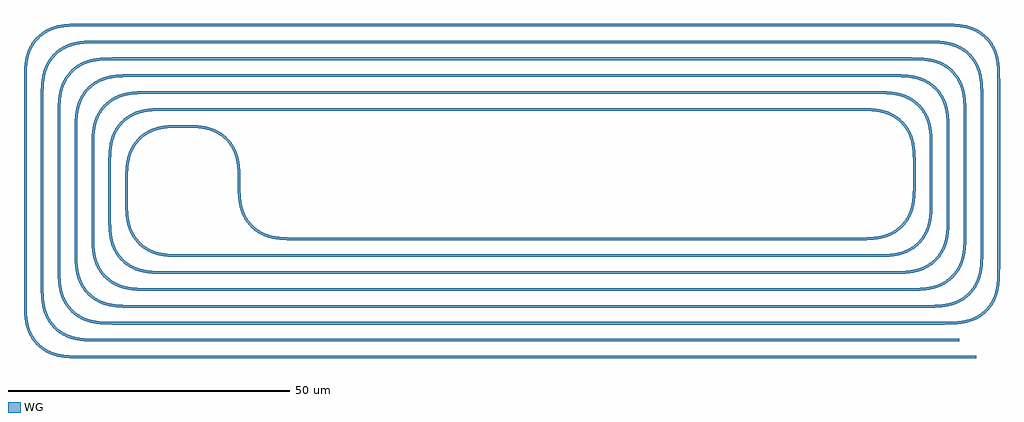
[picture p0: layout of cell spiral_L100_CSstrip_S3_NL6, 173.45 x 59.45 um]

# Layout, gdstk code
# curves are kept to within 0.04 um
from math import pi, radians
import gdstk
lib = gdstk.Library(unit=1e-6, precision=1e-09)
def R(c, l, rs):  # rectangles x0, y0, x1, y1
    for r in rs: c.add(gdstk.rectangle(r[:2], r[2:], *l))
def P(c, l, *ps):  # polygons
    for p in ps: c.add(gdstk.Polygon(p, *l))
WG = (3, 0)

bend_euler_rnone_a90_p0p = lib.new_cell('bend_euler_RNone_A90_P0p5_WNone_CSstrip_AMRVFalse')
P(bend_euler_rnone_a90_p0p, WG, [(0,-0.225),(0,0.225),(1.656,0.244),(3.019,0.344),(4.09,0.525),(4.998,0.782),(5.742,1.091),(6.444,1.484),(7.592,2.408),(8.516,3.556),(8.909,4.258),(9.218,5.002),(9.475,5.91),(9.656,6.981),(9.756,8.344),(9.775,10),(10.225,10),(10.133,7.208),(9.999,6.229),(9.773,5.261),(9.434,4.322),(9.044,3.557),(8.568,2.844),(7.911,2.089),(7.156,1.432),(6.443,0.956),(5.678,0.566),(4.739,0.227),(3.771,0.001),(2.792,-0.133)])

straight_l3_csstrip_wnon = lib.new_cell('straight_L3_CSstrip_WNone_N2')
R(straight_l3_csstrip_wnon, WG, [(0,-0.225,3,0.225)])

straight_l123_csstrip_wn = lib.new_cell('straight_L123_CSstrip_WNone_N2')
R(straight_l123_csstrip_wn, WG, [(0,-0.225,123,0.225)])

straight_l100_csstrip_wn = lib.new_cell('straight_L100_CSstrip_WNone_N2')
R(straight_l100_csstrip_wn, WG, [(0,-0.225,100,0.225)])

straight_l9_csstrip_wnon = lib.new_cell('straight_L9_CSstrip_WNone_N2')
R(straight_l9_csstrip_wnon, WG, [(0,-0.225,9,0.225)])

straight_l129_csstrip_wn = lib.new_cell('straight_L129_CSstrip_WNone_N2')
R(straight_l129_csstrip_wn, WG, [(0,-0.225,129,0.225)])

straight_l15_csstrip_wno = lib.new_cell('straight_L15_CSstrip_WNone_N2')
R(straight_l15_csstrip_wno, WG, [(0,-0.225,15,0.225)])

straight_l135_csstrip_wn = lib.new_cell('straight_L135_CSstrip_WNone_N2')
R(straight_l135_csstrip_wn, WG, [(0,-0.225,135,0.225)])

straight_l21_csstrip_wno = lib.new_cell('straight_L21_CSstrip_WNone_N2')
R(straight_l21_csstrip_wno, WG, [(0,-0.225,21,0.225)])

straight_l141_csstrip_wn = lib.new_cell('straight_L141_CSstrip_WNone_N2')
R(straight_l141_csstrip_wn, WG, [(0,-0.225,141,0.225)])

straight_l27_csstrip_wno = lib.new_cell('straight_L27_CSstrip_WNone_N2')
R(straight_l27_csstrip_wno, WG, [(0,-0.225,27,0.225)])

straight_l147_csstrip_wn = lib.new_cell('straight_L147_CSstrip_WNone_N2')
R(straight_l147_csstrip_wn, WG, [(0,-0.225,147,0.225)])

straight_l33_csstrip_wno = lib.new_cell('straight_L33_CSstrip_WNone_N2')
R(straight_l33_csstrip_wno, WG, [(0,-0.225,33,0.225)])

straight_l153_csstrip_wn = lib.new_cell('straight_L153_CSstrip_WNone_N2')
R(straight_l153_csstrip_wn, WG, [(0,-0.225,153,0.225)])

straight_l39_csstrip_wno = lib.new_cell('straight_L39_CSstrip_WNone_N2')
R(straight_l39_csstrip_wno, WG, [(0,-0.225,39,0.225)])

straight_l159_csstrip_wn = lib.new_cell('straight_L159_CSstrip_WNone_N2')
R(straight_l159_csstrip_wn, WG, [(0,-0.225,159,0.225)])

spiral_l100_csstrip_s3_n = lib.new_cell('spiral_L100_CSstrip_S3_NL6')
spiral_l100_csstrip_s3_n.add(gdstk.Reference(bend_euler_rnone_a90_p0p, (0,0), rotation=pi, x_reflection=True))
spiral_l100_csstrip_s3_n.add(gdstk.Reference(bend_euler_rnone_a90_p0p, (-10,10), rotation=pi/2))
spiral_l100_csstrip_s3_n.add(gdstk.Reference(bend_euler_rnone_a90_p0p, (-20,20), rotation=pi))
spiral_l100_csstrip_s3_n.add(gdstk.Reference(bend_euler_rnone_a90_p0p, (-30,7), rotation=3*pi/2))
spiral_l100_csstrip_s3_n.add(gdstk.Reference(straight_l3_csstrip_wnon, (-30,10), rotation=3*pi/2))
spiral_l100_csstrip_s3_n.add(gdstk.Reference(straight_l123_csstrip_wn, (-20,-3)))
spiral_l100_csstrip_s3_n.add(gdstk.Reference(straight_l100_csstrip_wn, (0,0)))
spiral_l100_csstrip_s3_n.add(gdstk.Reference(bend_euler_rnone_a90_p0p, (100,0)))
spiral_l100_csstrip_s3_n.add(gdstk.Reference(bend_euler_rnone_a90_p0p, (103,-3)))
spiral_l100_csstrip_s3_n.add(gdstk.Reference(bend_euler_rnone_a90_p0p, (110,13), rotation=pi/2))
spiral_l100_csstrip_s3_n.add(gdstk.Reference(bend_euler_rnone_a90_p0p, (113,16), rotation=pi/2))
spiral_l100_csstrip_s3_n.add(gdstk.Reference(bend_euler_rnone_a90_p0p, (-23,23), rotation=pi))
spiral_l100_csstrip_s3_n.add(gdstk.Reference(bend_euler_rnone_a90_p0p, (-26,26), rotation=pi))
spiral_l100_csstrip_s3_n.add(gdstk.Reference(bend_euler_rnone_a90_p0p, (-33,4), rotation=3*pi/2))
spiral_l100_csstrip_s3_n.add(gdstk.Reference(bend_euler_rnone_a90_p0p, (-36,1), rotation=3*pi/2))
spiral_l100_csstrip_s3_n.add(gdstk.Reference(straight_l3_csstrip_wnon, (110,10), rotation=pi/2))
spiral_l100_csstrip_s3_n.add(gdstk.Reference(straight_l9_csstrip_wnon, (113,7), rotation=pi/2))
spiral_l100_csstrip_s3_n.add(gdstk.Reference(straight_l123_csstrip_wn, (100,23), rotation=pi))
spiral_l100_csstrip_s3_n.add(gdstk.Reference(straight_l129_csstrip_wn, (103,26), rotation=pi))
spiral_l100_csstrip_s3_n.add(gdstk.Reference(straight_l9_csstrip_wnon, (-33,13), rotation=3*pi/2))
spiral_l100_csstrip_s3_n.add(gdstk.Reference(straight_l15_csstrip_wno, (-36,16), rotation=3*pi/2))
spiral_l100_csstrip_s3_n.add(gdstk.Reference(straight_l129_csstrip_wn, (-23,-6)))
spiral_l100_csstrip_s3_n.add(gdstk.Reference(straight_l135_csstrip_wn, (-26,-9)))
spiral_l100_csstrip_s3_n.add(gdstk.Reference(bend_euler_rnone_a90_p0p, (106,-6)))
spiral_l100_csstrip_s3_n.add(gdstk.Reference(bend_euler_rnone_a90_p0p, (109,-9)))
spiral_l100_csstrip_s3_n.add(gdstk.Reference(bend_euler_rnone_a90_p0p, (116,19), rotation=pi/2))
spiral_l100_csstrip_s3_n.add(gdstk.Reference(bend_euler_rnone_a90_p0p, (119,22), rotation=pi/2))
spiral_l100_csstrip_s3_n.add(gdstk.Reference(bend_euler_rnone_a90_p0p, (-29,29), rotation=pi))
spiral_l100_csstrip_s3_n.add(gdstk.Reference(bend_euler_rnone_a90_p0p, (-32,32), rotation=pi))
spiral_l100_csstrip_s3_n.add(gdstk.Reference(bend_euler_rnone_a90_p0p, (-39,-2), rotation=3*pi/2))
spiral_l100_csstrip_s3_n.add(gdstk.Reference(bend_euler_rnone_a90_p0p, (-42,-5), rotation=3*pi/2))
spiral_l100_csstrip_s3_n.add(gdstk.Reference(straight_l15_csstrip_wno, (116,4), rotation=pi/2))
spiral_l100_csstrip_s3_n.add(gdstk.Reference(straight_l21_csstrip_wno, (119,1), rotation=pi/2))
spiral_l100_csstrip_s3_n.add(gdstk.Reference(straight_l135_csstrip_wn, (106,29), rotation=pi))
spiral_l100_csstrip_s3_n.add(gdstk.Reference(straight_l141_csstrip_wn, (109,32), rotation=pi))
spiral_l100_csstrip_s3_n.add(gdstk.Reference(straight_l21_csstrip_wno, (-39,19), rotation=3*pi/2))
spiral_l100_csstrip_s3_n.add(gdstk.Reference(straight_l27_csstrip_wno, (-42,22), rotation=3*pi/2))
spiral_l100_csstrip_s3_n.add(gdstk.Reference(straight_l141_csstrip_wn, (-29,-12)))
spiral_l100_csstrip_s3_n.add(gdstk.Reference(straight_l147_csstrip_wn, (-32,-15)))
spiral_l100_csstrip_s3_n.add(gdstk.Reference(bend_euler_rnone_a90_p0p, (112,-12)))
spiral_l100_csstrip_s3_n.add(gdstk.Reference(bend_euler_rnone_a90_p0p, (115,-15)))
spiral_l100_csstrip_s3_n.add(gdstk.Reference(bend_euler_rnone_a90_p0p, (122,25), rotation=pi/2))
spiral_l100_csstrip_s3_n.add(gdstk.Reference(bend_euler_rnone_a90_p0p, (125,28), rotation=pi/2))
spiral_l100_csstrip_s3_n.add(gdstk.Reference(bend_euler_rnone_a90_p0p, (-35,35), rotation=pi))
spiral_l100_csstrip_s3_n.add(gdstk.Reference(bend_euler_rnone_a90_p0p, (-38,38), rotation=pi))
spiral_l100_csstrip_s3_n.add(gdstk.Reference(bend_euler_rnone_a90_p0p, (-45,-8), rotation=3*pi/2))
spiral_l100_csstrip_s3_n.add(gdstk.Reference(bend_euler_rnone_a90_p0p, (-48,-11), rotation=3*pi/2))
spiral_l100_csstrip_s3_n.add(gdstk.Reference(straight_l27_csstrip_wno, (122,-2), rotation=pi/2))
spiral_l100_csstrip_s3_n.add(gdstk.Reference(straight_l33_csstrip_wno, (125,-5), rotation=pi/2))
spiral_l100_csstrip_s3_n.add(gdstk.Reference(straight_l147_csstrip_wn, (112,35), rotation=pi))
spiral_l100_csstrip_s3_n.add(gdstk.Reference(straight_l153_csstrip_wn, (115,38), rotation=pi))
spiral_l100_csstrip_s3_n.add(gdstk.Reference(straight_l33_csstrip_wno, (-45,25), rotation=3*pi/2))
spiral_l100_csstrip_s3_n.add(gdstk.Reference(straight_l39_csstrip_wno, (-48,28), rotation=3*pi/2))
spiral_l100_csstrip_s3_n.add(gdstk.Reference(straight_l153_csstrip_wn, (-35,-18)))
spiral_l100_csstrip_s3_n.add(gdstk.Reference(straight_l159_csstrip_wn, (-38,-21)))

lib.write_gds('spiral_L100_CSstrip_S3_NL6.gds')
